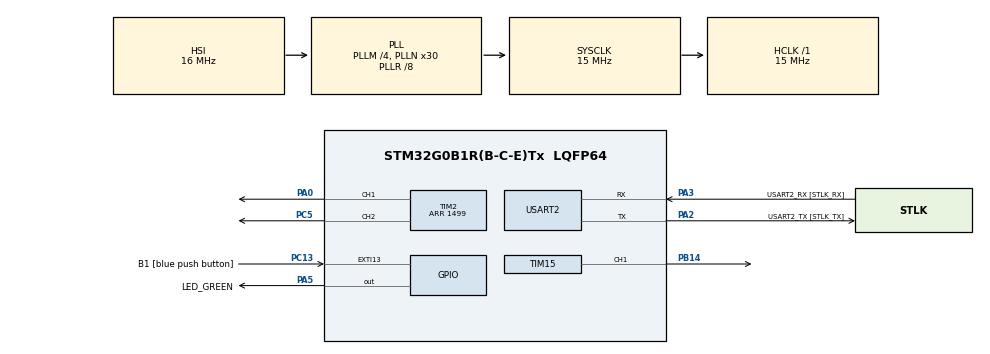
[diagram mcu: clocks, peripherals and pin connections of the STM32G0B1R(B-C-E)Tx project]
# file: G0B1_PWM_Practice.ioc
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Mcu.Family=STM32G0
Mcu.Name=STM32G0B1R(B-C-E)Tx
Mcu.Package=LQFP64
NVIC.EXTI4_15_IRQn=true\:0\:0\:false\:false\:true\:true\:true\:true
PA0.Signal=S_TIM2_CH1_ETR
PA1.Signal=TIM15_CH1N
PA13.GPIO_Label=TMS
PA13.Mode=Serial_Wire
PA13.Signal=SYS_SWDIO
PA14-BOOT0.GPIO_Label=TCK
PA14-BOOT0.Mode=Serial_Wire
PA14-BOOT0.Signal=SYS_SWCLK
PA2.GPIO_Label=USART2_TX [STLK_TX]
PA2.Mode=Asynchronous
PA2.Signal=USART2_TX
PA3.GPIO_Label=USART2_RX [STLK_RX]
PA3.Mode=Asynchronous
PA3.Signal=USART2_RX
PA5.GPIO_Label=LED_GREEN
PA5.GPIO_Speed=GPIO_SPEED_FREQ_HIGH
PA5.Signal=GPIO_Output
PB14.Signal=S_TIM15_CH1
PC13.GPIO_Label=B1 [blue push button]
PC13.GPIO_ModeDefaultEXTI=GPIO_MODE_IT_RISING_FALLING
PC13.Signal=GPXTI13
PC14-OSC32_IN\ (PC14).Mode=LSE-External-Oscillator
PC14-OSC32_IN\ (PC14).Signal=RCC_OSC32_IN
PC15-OSC32_OUT\ (PC15).Mode=LSE-External-Oscillator
PC15-OSC32_OUT\ (PC15).Signal=RCC_OSC32_OUT
PC5.Signal=S_TIM2_CH2
PF0-OSC_IN\ (PF0).GPIO_Label=MCO
PF0-OSC_IN\ (PF0).Mode=HSE-External-Clock-Source
PF0-OSC_IN\ (PF0).Signal=RCC_OSC_IN
ProjectManager.HeapSize=0x200
ProjectManager.StackSize=0x400
ProjectManager.TargetToolchain=CMake
RCC.ADCFreq_Value=15000000
RCC.AHBFreq_Value=15000000
RCC.CortexFreq_Value=15000000
RCC.EXTERNAL_CLOCK_VALUE=12288000
RCC.HCLKFreq_Value=15000000
RCC.HSI48_VALUE=48000000
RCC.HSI_VALUE=16000000
RCC.PLLM=RCC_PLLM_DIV4
RCC.PLLN=30
RCC.PLLR=RCC_PLLR_DIV8
RCC.SYSCLKFreq_VALUE=15000000
RCC.SYSCLKSource=RCC_SYSCLKSOURCE_PLLCLK
RCC.USBFreq_Value=48000000
RCC.VCOOutputFreq_Value=120000000
SH.S_TIM15_CH1.0=TIM15_CH1,PWM Generation1 CH1
SH.S_TIM2_CH1_ETR.0=TIM2_CH1,PWM Generation1 CH1
SH.S_TIM2_CH2.0=TIM2_CH2,PWM Generation2 CH2
TIM15.AutoReloadPreload=TIM_AUTORELOAD_PRELOAD_ENABLE
TIM15.BreakState=TIM_BREAK_DISABLE
TIM15.Channel-PWM\ Generation1\ CH1=TIM_CHANNEL_1
TIM15.Period=1499
TIM15.Pulse-PWM\ Generation1\ CH1=750
TIM2.AutoReloadPreload=TIM_AUTORELOAD_PRELOAD_ENABLE
TIM2.Channel-PWM\ Generation1\ CH1=TIM_CHANNEL_1
TIM2.Channel-PWM\ Generation2\ CH2=TIM_CHANNEL_2
TIM2.OCMode_PWM-PWM\ Generation2\ CH2=TIM_OCMODE_PWM2
TIM2.Period=1499
TIM2.Pulse-PWM\ Generation1\ CH1=750
TIM2.Pulse-PWM\ Generation2\ CH2=375
TIM2.TIM_MasterOutputTrigger=TIM_TRGO_OC2REF
USART2.VirtualMode-Asynchronous=VM_ASYNC
VP_SYS_VS_DBSignals.Mode=DisableDeadBatterySignals
VP_TIM15_VS_ClockSourceINT.Mode=Internal
VP_TIM15_VS_ClockSourceITR.Mode=TriggerSource_ITR0
VP_TIM15_VS_ControllerModeReset.Mode=Reset Mode
VP_TIM2_VS_ClockSourceINT.Mode=Internal
board=NUCLEO-G0B1RE

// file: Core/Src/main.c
/* USER CODE BEGIN Header */
/**
  ******************************************************************************
  * @file           : main.c
  * @brief          : Main program body
  ******************************************************************************
  * @attention
  *
  * Copyright (c) 2026 STMicroelectronics.
  * All rights reserved.
  *
  * This software is licensed under terms that can be found in the LICENSE file
  * in the root directory of this software component.
  * If no LICENSE file comes with this software, it is provided AS-IS.
  *
  ******************************************************************************
  */
/* USER CODE END Header */
#include "main.h"

TIM_HandleTypeDef htim2;
TIM_HandleTypeDef htim15;

UART_HandleTypeDef huart2;

void SystemClock_Config(void);
static void MX_GPIO_Init(void);
static void MX_TIM15_Init(void);
static void MX_USART2_UART_Init(void);
static void MX_TIM2_Init(void);

/* USER CODE BEGIN 0 */
volatile uint8_t btn_dwn_press = 0, btn_up_press = 0, btn_press = 0;
volatile uint32_t t_btn_dwn_press = 0, t_btn_up_press = 0, t_btn_press = 0;
/**
  * @brief  EXTI line detection callback.
  * @param  GPIO_Pin Specifies the port pin connected to corresponding EXTI line.
  * @retval None
  */
void HAL_GPIO_EXTI_Rising_Callback(uint16_t GPIO_Pin)
{
  if (GPIO_Pin != B1_Pin) return;

  if( !btn_dwn_press ) return; // ignore if button is not pressed

  t_btn_up_press = HAL_GetTick();

  btn_up_press = 1;
}

/**
  * @brief  EXTI line detection callback.
  * @param  GPIO_Pin Specifies the port pin connected to corresponding EXTI line.
  * @retval None
  */
void HAL_GPIO_EXTI_Falling_Callback(uint16_t GPIO_Pin)
{
  if (GPIO_Pin != B1_Pin) return;

  if(btn_dwn_press) return; // ignore if button is already pressed

  t_btn_dwn_press = HAL_GetTick();

  btn_dwn_press = 1;
}

void determine_btn_press_time()
{
  if( btn_dwn_press && btn_up_press )
  {
    int32_t d = (int32_t) (t_btn_up_press - t_btn_dwn_press);
    btn_dwn_press = 0; btn_up_press = 0;
    if( d <  50 || d > 30000 ) return;
    t_btn_press = t_btn_up_press - t_btn_dwn_press;
    btn_press = 1;
  }
}

enum PROGRAM_MODE{
  PROGRAM_MODE_PWM_DUTY_CYCLE,
  PROGRAM_MODE_PWM_FREQUENCY,
  PROGRAM_MODE_INCREMENT,
  PROGRAM_MODE_NONE
};
enum PROGRAM_MODE program_mode = PROGRAM_MODE_NONE;
enum PROGRAM_MODE prev_mode = PROGRAM_MODE_NONE;
uint8_t increment_enabled = 0;
void determine_program_mode()
{
  if( t_btn_press < 1000U )
    increment_enabled = 1;
  else if( t_btn_press < 5000U )
    program_mode = PROGRAM_MODE_PWM_DUTY_CYCLE;
  else if( t_btn_press < 10000U )
    program_mode = PROGRAM_MODE_PWM_FREQUENCY;
  else
    program_mode = PROGRAM_MODE_NONE;

}

int32_t period_min, period_max;
int32_t step;
uint8_t duty_pct;

void execute_program_mode()
{
  if( program_mode == PROGRAM_MODE_PWM_DUTY_CYCLE )
  {
  	if( increment_enabled )
  	{
  		increment_enabled = 0;
      duty_pct = (duty_pct + 10) % 110;

  		__HAL_TIM_SET_COMPARE(&htim15, TIM_CHANNEL_1, (htim15.Init.Period+1)*duty_pct/100);

  	}
  }
  else if( program_mode == PROGRAM_MODE_PWM_FREQUENCY )
  {
  	if( increment_enabled )
  	{
      increment_enabled = 0;

      int32_t p = (int32_t) htim15.Init.Period + step;
      if(p <= period_min)
      {
        p = period_min; step = -1 * step;
      }
      else if(p >= period_max)
      {
        p = period_max; step = -1 * step;
      }
      __HAL_TIM_SET_AUTORELOAD(&htim15, (uint32_t) p);
      __HAL_TIM_SET_COMPARE(&htim15, TIM_CHANNEL_1, (p+1)*duty_pct/100);
  	}
  }
}

void service_led()
{
	static uint32_t t_last = 0;
	static uint8_t phase = 0;
	uint8_t blinks;

	switch(program_mode)
	{
		case PROGRAM_MODE_PWM_DUTY_CYCLE:
			blinks = 1;
		break;
		case PROGRAM_MODE_PWM_FREQUENCY:
			blinks = 2;
		break;
		default:
			HAL_GPIO_WritePin(LED_GREEN_GPIO_Port, LED_GREEN_Pin, GPIO_PIN_RESET);
			phase = 0;
			return;

	}

	/* phase 0..2*blinks-1 = on/off pairs at 150 ms, final phase = 900 ms gap */
	uint32_t dwell = (phase < 2*blinks) ? 150 : 900;

	if( HAL_GetTick() - t_last >= dwell )
	{
		t_last = HAL_GetTick();
		phase = (phase + 1) % (2*blinks + 1);
		HAL_GPIO_WritePin(LED_GREEN_GPIO_Port, LED_GREEN_Pin,
		                  (phase < 2*blinks && !(phase & 1)) ? GPIO_PIN_SET : GPIO_PIN_RESET);
	}

}

void set_pwm_duty(uint8_t duty)
{
  if(duty > 100 ) duty = 100;
  duty_pct = duty;
  __HAL_TIM_SET_COMPARE(&htim15, TIM_CHANNEL_1, (htim15.Init.Period+1)*duty_pct/100);
}

void mode_initialize(enum PROGRAM_MODE mode)
{
  switch(mode)
  {
    case PROGRAM_MODE_PWM_DUTY_CYCLE:
      set_pwm_duty(0);
    break;
    case PROGRAM_MODE_PWM_FREQUENCY:
      set_pwm_duty(50);
    break;
    default:
    break;
  }
}
uint16_t phase = 90;
void increase_phase()
{
  phase = (phase + 90 ) % 360;
  if( phase == 0 )
  {
    MODIFY_REG(TIM2->CR2, TIM_CR2_MMS, TIM_TRGO_UPDATE);
  }
  else
  {
    uint32_t phase_ticks = (htim2.Init.Period+1) * phase / 360;
    __HAL_TIM_SET_COMPARE(&htim2, TIM_CHANNEL_2, phase_ticks);
    MODIFY_REG(TIM2->CR2, TIM_CR2_MMS, TIM_TRGO_OC2REF);
  }
}
/* USER CODE END 0 */

int main(void)
{

  /* MCU Configuration--------------------------------------------------------*/

  /* Reset of all peripherals, Initializes the Flash interface and the Systick. */
  HAL_Init();

  /* Configure the system clock */
  SystemClock_Config();

  /* Initialize all configured peripherals */
  MX_GPIO_Init();
  MX_TIM15_Init();
  MX_USART2_UART_Init();
  MX_TIM2_Init();
  /* USER CODE BEGIN 2 */
  HAL_TIM_PWM_Start(&htim15, TIM_CHANNEL_1);
  HAL_TIM_PWM_Start(&htim2, TIM_CHANNEL_1);
  uint32_t last_serial_tick = HAL_GetTick();
  static const uint8_t serial_message[] = "Hello from NUCLEO-G0B1RE!\r\n";
  /* USER CODE END 2 */

  /* Infinite loop */
  /* USER CODE BEGIN WHILE */
  period_min = htim15.Init.Period - 600;
  period_max = htim15.Init.Period;
  step = -100;
  duty_pct = 50;
  while (1)
  {
    /* USER CODE END WHILE */

    /* USER CODE BEGIN 3 */
    uint32_t now = HAL_GetTick();
    if ((uint32_t)(now - last_serial_tick) >= 10000U)
    {
      last_serial_tick = now;
      HAL_UART_Transmit(&huart2, serial_message, sizeof(serial_message) - 1U, 100U);
    }

    determine_btn_press_time();
    if( btn_press )
    {
      increase_phase();
      btn_press = 0;
    }

#if 0
    determine_btn_press_time();
    if( btn_press )
    {
      determine_program_mode();
      btn_press = 0;
    }

    if(prev_mode != program_mode)
    {
      mode_initialize(program_mode);
      prev_mode = program_mode;
    }

    service_led();

    execute_program_mode();
#endif
  }
  /* USER CODE END 3 */
}

void SystemClock_Config(void)
{
  RCC_OscInitTypeDef RCC_OscInitStruct = {0};
  RCC_ClkInitTypeDef RCC_ClkInitStruct = {0};

  /** Configure the main internal regulator output voltage
  */
  HAL_PWREx_ControlVoltageScaling(PWR_REGULATOR_VOLTAGE_SCALE1);

  /** Initializes the RCC Oscillators according to the specified parameters
  * in the RCC_OscInitTypeDef structure.
  */
  RCC_OscInitStruct.OscillatorType = RCC_OSCILLATORTYPE_HSI;
  RCC_OscInitStruct.HSIState = RCC_HSI_ON;
  RCC_OscInitStruct.HSIDiv = RCC_HSI_DIV1;
  RCC_OscInitStruct.HSICalibrationValue = RCC_HSICALIBRATION_DEFAULT;
  RCC_OscInitStruct.PLL.PLLState = RCC_PLL_ON;
  RCC_OscInitStruct.PLL.PLLSource = RCC_PLLSOURCE_HSI;
  RCC_OscInitStruct.PLL.PLLM = RCC_PLLM_DIV4;
  RCC_OscInitStruct.PLL.PLLN = 30;
  RCC_OscInitStruct.PLL.PLLP = RCC_PLLP_DIV2;
  RCC_OscInitStruct.PLL.PLLQ = RCC_PLLQ_DIV2;
  RCC_OscInitStruct.PLL.PLLR = RCC_PLLR_DIV8;
  if (HAL_RCC_OscConfig(&RCC_OscInitStruct) != HAL_OK)
  {
    Error_Handler();
  }

  /** Initializes the CPU, AHB and APB buses clocks
  */
  RCC_ClkInitStruct.ClockType = RCC_CLOCKTYPE_HCLK|RCC_CLOCKTYPE_SYSCLK
                              |RCC_CLOCKTYPE_PCLK1;
  RCC_ClkInitStruct.SYSCLKSource = RCC_SYSCLKSOURCE_PLLCLK;
  RCC_ClkInitStruct.AHBCLKDivider = RCC_SYSCLK_DIV1;
  RCC_ClkInitStruct.APB1CLKDivider = RCC_HCLK_DIV1;

  if (HAL_RCC_ClockConfig(&RCC_ClkInitStruct, FLASH_LATENCY_0) != HAL_OK)
  {
    Error_Handler();
  }
}

static void MX_TIM2_Init(void)
{

  TIM_ClockConfigTypeDef sClockSourceConfig = {0};
  TIM_MasterConfigTypeDef sMasterConfig = {0};
  TIM_OC_InitTypeDef sConfigOC = {0};

  htim2.Instance = TIM2;
  htim2.Init.Prescaler = 0;
  htim2.Init.CounterMode = TIM_COUNTERMODE_UP;
  htim2.Init.Period = 1499;
  htim2.Init.ClockDivision = TIM_CLOCKDIVISION_DIV1;
  htim2.Init.AutoReloadPreload = TIM_AUTORELOAD_PRELOAD_ENABLE;
  if (HAL_TIM_Base_Init(&htim2) != HAL_OK)
  {
    Error_Handler();
  }
  sClockSourceConfig.ClockSource = TIM_CLOCKSOURCE_INTERNAL;
  if (HAL_TIM_ConfigClockSource(&htim2, &sClockSourceConfig) != HAL_OK)
  {
    Error_Handler();
  }
  if (HAL_TIM_PWM_Init(&htim2) != HAL_OK)
  {
    Error_Handler();
  }
  sMasterConfig.MasterOutputTrigger = TIM_TRGO_OC2REF;
  sMasterConfig.MasterSlaveMode = TIM_MASTERSLAVEMODE_DISABLE;
  if (HAL_TIMEx_MasterConfigSynchronization(&htim2, &sMasterConfig) != HAL_OK)
  {
    Error_Handler();
  }
  sConfigOC.OCMode = TIM_OCMODE_PWM1;
  sConfigOC.Pulse = 750;
  sConfigOC.OCPolarity = TIM_OCPOLARITY_HIGH;
  sConfigOC.OCFastMode = TIM_OCFAST_DISABLE;
  if (HAL_TIM_PWM_ConfigChannel(&htim2, &sConfigOC, TIM_CHANNEL_1) != HAL_OK)
  {
    Error_Handler();
  }
  sConfigOC.OCMode = TIM_OCMODE_PWM2;
  sConfigOC.Pulse = 375;
  if (HAL_TIM_PWM_ConfigChannel(&htim2, &sConfigOC, TIM_CHANNEL_2) != HAL_OK)
  {
    Error_Handler();
  }
  HAL_TIM_MspPostInit(&htim2);

}

static void MX_TIM15_Init(void)
{

  TIM_ClockConfigTypeDef sClockSourceConfig = {0};
  TIM_SlaveConfigTypeDef sSlaveConfig = {0};
  TIM_MasterConfigTypeDef sMasterConfig = {0};
  TIM_OC_InitTypeDef sConfigOC = {0};
  TIM_BreakDeadTimeConfigTypeDef sBreakDeadTimeConfig = {0};

  htim15.Instance = TIM15;
  htim15.Init.Prescaler = 0;
  htim15.Init.CounterMode = TIM_COUNTERMODE_UP;
  htim15.Init.Period = 1499;
  htim15.Init.ClockDivision = TIM_CLOCKDIVISION_DIV1;
  htim15.Init.RepetitionCounter = 0;
  htim15.Init.AutoReloadPreload = TIM_AUTORELOAD_PRELOAD_ENABLE;
  if (HAL_TIM_Base_Init(&htim15) != HAL_OK)
  {
    Error_Handler();
  }
  sClockSourceConfig.ClockSource = TIM_CLOCKSOURCE_INTERNAL;
  if (HAL_TIM_ConfigClockSource(&htim15, &sClockSourceConfig) != HAL_OK)
  {
    Error_Handler();
  }
  if (HAL_TIM_PWM_Init(&htim15) != HAL_OK)
  {
    Error_Handler();
  }
  sSlaveConfig.SlaveMode = TIM_SLAVEMODE_RESET;
  sSlaveConfig.InputTrigger = TIM_TS_ITR0;
  if (HAL_TIM_SlaveConfigSynchro(&htim15, &sSlaveConfig) != HAL_OK)
  {
    Error_Handler();
  }
  sMasterConfig.MasterOutputTrigger = TIM_TRGO_RESET;
  sMasterConfig.MasterSlaveMode = TIM_MASTERSLAVEMODE_DISABLE;
  if (HAL_TIMEx_MasterConfigSynchronization(&htim15, &sMasterConfig) != HAL_OK)
  {
    Error_Handler();
  }
  sConfigOC.OCMode = TIM_OCMODE_PWM1;
  sConfigOC.Pulse = 750;
  sConfigOC.OCPolarity = TIM_OCPOLARITY_HIGH;
  sConfigOC.OCNPolarity = TIM_OCNPOLARITY_HIGH;
  sConfigOC.OCFastMode = TIM_OCFAST_DISABLE;
  sConfigOC.OCIdleState = TIM_OCIDLESTATE_RESET;
  sConfigOC.OCNIdleState = TIM_OCNIDLESTATE_RESET;
  if (HAL_TIM_PWM_ConfigChannel(&htim15, &sConfigOC, TIM_CHANNEL_1) != HAL_OK)
  {
    Error_Handler();
  }
  sBreakDeadTimeConfig.OffStateRunMode = TIM_OSSR_DISABLE;
  sBreakDeadTimeConfig.OffStateIDLEMode = TIM_OSSI_DISABLE;
  sBreakDeadTimeConfig.LockLevel = TIM_LOCKLEVEL_OFF;
  sBreakDeadTimeConfig.DeadTime = 0;
  sBreakDeadTimeConfig.BreakState = TIM_BREAK_DISABLE;
  sBreakDeadTimeConfig.BreakPolarity = TIM_BREAKPOLARITY_HIGH;
  sBreakDeadTimeConfig.BreakFilter = 0;
  sBreakDeadTimeConfig.AutomaticOutput = TIM_AUTOMATICOUTPUT_DISABLE;
  if (HAL_TIMEx_ConfigBreakDeadTime(&htim15, &sBreakDeadTimeConfig) != HAL_OK)
  {
    Error_Handler();
  }
  HAL_TIM_MspPostInit(&htim15);

}

static void MX_USART2_UART_Init(void)
{

  huart2.Instance = USART2;
  huart2.Init.BaudRate = 115200;
  huart2.Init.WordLength = UART_WORDLENGTH_8B;
  huart2.Init.StopBits = UART_STOPBITS_1;
  huart2.Init.Parity = UART_PARITY_NONE;
  huart2.Init.Mode = UART_MODE_TX_RX;
  huart2.Init.HwFlowCtl = UART_HWCONTROL_NONE;
  huart2.Init.OverSampling = UART_OVERSAMPLING_16;
  huart2.Init.OneBitSampling = UART_ONE_BIT_SAMPLE_DISABLE;
  huart2.Init.ClockPrescaler = UART_PRESCALER_DIV1;
  huart2.AdvancedInit.AdvFeatureInit = UART_ADVFEATURE_NO_INIT;
  if (HAL_UART_Init(&huart2) != HAL_OK)
  {
    Error_Handler();
  }
  if (HAL_UARTEx_SetTxFifoThreshold(&huart2, UART_TXFIFO_THRESHOLD_1_8) != HAL_OK)
  {
    Error_Handler();
  }
  if (HAL_UARTEx_SetRxFifoThreshold(&huart2, UART_RXFIFO_THRESHOLD_1_8) != HAL_OK)
  {
    Error_Handler();
  }
  if (HAL_UARTEx_DisableFifoMode(&huart2) != HAL_OK)
  {
    Error_Handler();
  }

}

static void MX_GPIO_Init(void)
{
  GPIO_InitTypeDef GPIO_InitStruct = {0};

  /* GPIO Ports Clock Enable */
  __HAL_RCC_GPIOC_CLK_ENABLE();
  __HAL_RCC_GPIOF_CLK_ENABLE();
  __HAL_RCC_GPIOA_CLK_ENABLE();
  __HAL_RCC_GPIOB_CLK_ENABLE();

  /*Configure GPIO pin Output Level */
  HAL_GPIO_WritePin(LED_GREEN_GPIO_Port, LED_GREEN_Pin, GPIO_PIN_RESET);

  /*Configure GPIO pin : B1_Pin */
  GPIO_InitStruct.Pin = B1_Pin;
  GPIO_InitStruct.Mode = GPIO_MODE_IT_RISING_FALLING;
  GPIO_InitStruct.Pull = GPIO_NOPULL;
  HAL_GPIO_Init(B1_GPIO_Port, &GPIO_InitStruct);

  /*Configure GPIO pin : LED_GREEN_Pin */
  GPIO_InitStruct.Pin = LED_GREEN_Pin;
  GPIO_InitStruct.Mode = GPIO_MODE_OUTPUT_PP;
  GPIO_InitStruct.Pull = GPIO_NOPULL;
  GPIO_InitStruct.Speed = GPIO_SPEED_FREQ_HIGH;
  HAL_GPIO_Init(LED_GREEN_GPIO_Port, &GPIO_InitStruct);

  /* EXTI interrupt init*/
  HAL_NVIC_SetPriority(EXTI4_15_IRQn, 0, 0);
  HAL_NVIC_EnableIRQ(EXTI4_15_IRQn);

}

void Error_Handler(void)
{
  __disable_irq();
  while (1)
  {
  }
}
